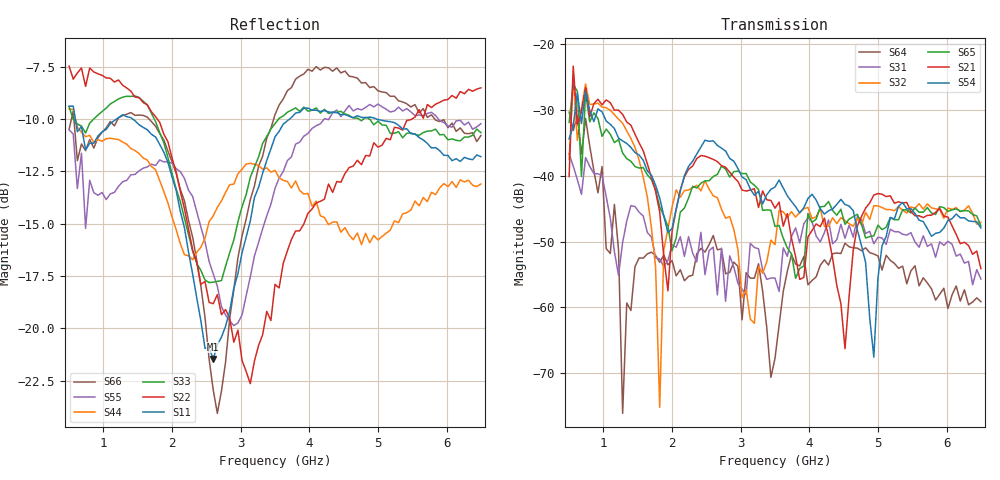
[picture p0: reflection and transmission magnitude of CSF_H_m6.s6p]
!Keysight Technologies,M9804A,MY58100912,A.14.10.03
!Date: Thursday, April 27, 2023 10:28:33
!Correction: S11(C  6-Port  )
!S12(C  6-Port  )
!S13(C  6-Port  )
!S14(C  6-Port  )
!S15(C  6-Port  )
!S16(C  6-Port  )
!S21(C  6-Port  )
!S22(C  6-Port  )
!S23(C  6-Port  )
!S24(C  6-Port  )
!S25(C  6-Port  )
!S26(C  6-Port  )
!S31(C  6-Port  )
!S32(C  6-Port  )
!S33(C  6-Port  )
!S34(C  6-Port  )
!S35(C  6-Port  )
!S36(C  6-Port  )
!S41(C  6-Port  )
!S42(C  6-Port  )
!S43(C  6-Port  )
!S44(C  6-Port  )
!S45(C  6-Port  )
!S46(C  6-Port  )
!S51(C  6-Port  )
!S52(C  6-Port  )
!S53(C  6-Port  )
!S54(C  6-Port  )
!S55(C  6-Port  )
!S56(C  6-Port  )
!S61(C  6-Port  )
!S62(C  6-Port  )
!S63(C  6-Port  )
!S64(C  6-Port  )
!S65(C  6-Port  )
!S66(C  6-Port  )
!S6P File: Measurement: :
# Hz S  RI  R 50
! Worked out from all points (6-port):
!   101 points, 500 MHz to 6.5 GHz, reference 50 ohm
!   strongest paths, dB at 500 MHz, 2 GHz, 3.5 GHz, 5 GHz, 6.5 GHz:
!     S54: -34.4, -48.0, -41.7, -55.5, -47.9
!     S21: -40.1, -48.5, -44.9, -42.7, -54.1
!     S65: -31.9, -51.4, -47.7, -47.5, -47.6
!     S32: -37.5, -44.8, -50.5, -44.6, -47.1
!     S31: -36.7, -50.5, -55.5, -49.3, -55.7
!     S64: -30.3, -52.9, -67.8, -52.2, -59.1
!   lowest |S11| = -21.5 dB at 2.6 GHz (marker M1), VSWR 1.18, Z = 42.5 + j2.16 ohm
!   |S11| at or under -10 dB: 590 MHz to 1.193 GHz (603 MHz wide, 67.6 % of centre); 1.425 GHz to 3.715 GHz (2.29 GHz wide, 89.1 % of centre); 4.975 GHz to end of sweep
